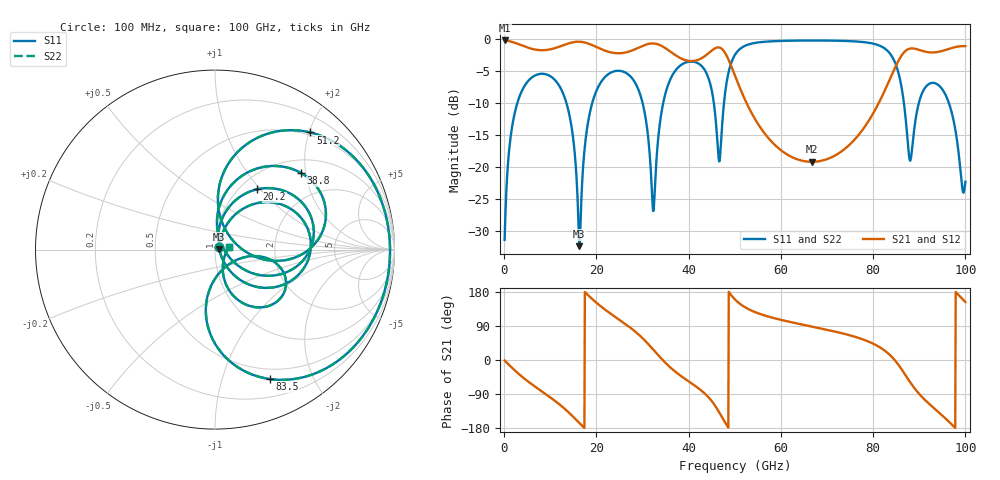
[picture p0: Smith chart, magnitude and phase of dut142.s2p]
! Touchstone file exported from HFSS 2026.1.0
!  File:  C:/ffzhzh/LocalFiles/Ansys_Project_Files/temp_train_TSV_RDL_142_1783462651_50928.aedt
!  Generated:  06:34:46 AM Jul  8, 2026
!  Design:  TSV_RDL
!  Project:  temp_train_TSV_RDL_142_1783462651_50928
! Variables:
!  h_bsmrdl = 4.52um
!  h_ox = 20um
!  h_rdl = 5um
!  h_sub = 99.87um
!  h_tmrdl = 2.91um
!  h_tsv = 99.87um
!  h_via = 3um
!  l_bsmrdl = 143.42um
!  l_sub = 2991.98um
!  l_tmrdl = 509.17um
!  m_sub = 200um
!  pitch = 47.43um
!  r_tsv = 9.11um
!  s_tmrdl = 10um
!  w_bsmrdl = 29.92um
!  w_sub = 500um
!  w_tmrdl = 11.76um
!  x_tsv_center1 = 515.05um
!  x_tsv_center2 = 688.39um
!  x_tsv_center3 = 1209.32um
!  x_tsv_center4 = 1382.66um
!  x_tsv_center5 = 1903.59um
!  x_tsv_center6 = 2076.93um
# GHz S MA R 50.000000
! Terminal data exported
! Port[1] = TM_RDL1_1_T1
! Port[2] = TM_RDL5_1_T1
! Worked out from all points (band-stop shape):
!   1000 points, 100 MHz to 100 GHz, reference 50 ohm
!   highest |S21| = -0.21 dB at 100 MHz (marker M1); lowest = -19.2 dB at 66.7 GHz (marker M2)
!   |S21| within 3 dB of the highest: start of sweep to 38.96 GHz; 85.63 GHz to end of sweep (the widest 2 of 3)
!   lowest |S11| = -32.4 dB at 16.3 GHz (marker M3), VSWR 1.05, Z = 52.4 + j0.121 ohm
!   |S11| at or under -10 dB: 13.5 GHz to 19.1 GHz (5.599 GHz wide, 34.4 % of centre); 30.01 GHz to 34.48 GHz (4.469 GHz wide, 13.9 % of centre); 96.42 GHz to end of sweep (the widest 3 of 6)
!   |S22| runs from -32.4 to -0.2 dB; largest |S21 - S12| = 3.1e-12
!   S11 on the Smith chart (normalised r, x): 100 MHz: 1.05, +0.03; 20.2 GHz: 1.19, +0.96; 38.8 GHz: 1.30, +1.89; 51.2 GHz: 0.45, +2.02; 83.5 GHz: 0.39, -1.44; 100 GHz: 1.16, +0.03
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0.1  0.02675 27.9  0.9766 -1.3  0.9766 -1.3  0.02675 27.9
! Gamma 0 0 0 0
! Port Impedance 50 0 50 0
2.5  0.2835 54.9  0.9314 -29.6  0.9314 -29.6  0.2835 54.9
8  0.5351 6.7  0.8193 -81.4  0.8193 -81.4  0.5351 6.7
13.7  0.2979 -43.2  0.9192 -135.1  0.9192 -135.1  0.2979 -43.2
16.3  0.02388 2.8  0.9545 -166.0  0.9545 -166.0  0.02393 2.8
16.8  0.0628 74.1  0.9512 -172.1  0.9512 -172.1  0.06284 74.1
20.2  0.4085 55.2  0.8613 149.1  0.8613 149.1  0.4085 55.2
28.7  0.4341 -15.6  0.8436 72.1  0.8436 72.1  0.4342 -15.6
32.3  0.04502 17.8  0.9254 27.9  0.9254 27.9  0.04543 17.9
33.4  0.1673 86.2  0.9092 12.8  0.9092 12.8  0.1674 86.0
38.8  0.6423 41.6  0.695 -46.3  0.695 -46.3  0.6423 41.5
44  0.5278 0.5  0.7595 -94.5  0.7595 -94.5  0.5278 0.4
46.6  0.1102 31.8  0.8607 -137.7  0.8607 -137.7  0.1098 31.7
50.1  0.7593 60.7  0.512 159.1  0.512 159.1  0.7593 60.7
51.2  0.8419 50.8  0.4075 147.5  0.4075 147.5  0.8419 50.8
66.7  0.9755 -2.2  0.1093 88.4  0.1093 88.4  0.9755 -2.2
83.4  0.7906 -66.2  0.4656 15.9  0.4656 15.9  0.7907 -66.1
83.5  0.783 -67.1  0.4744 14.7  0.4744 14.7  0.7832 -67.1
88  0.1115 -54.6  0.8439 -58.2  0.8439 -58.2  0.1126 -54.6
89.9  0.3159 -10.4  0.8248 -88.3  0.8248 -88.3  0.3161 -10.6
95.4  0.3836 -56.2  0.8166 -151.1  0.8166 -151.1  0.3835 -56.3
100  0.07634 9.1  0.8806 153.0  0.8806 153.0  0.07644 9.0
